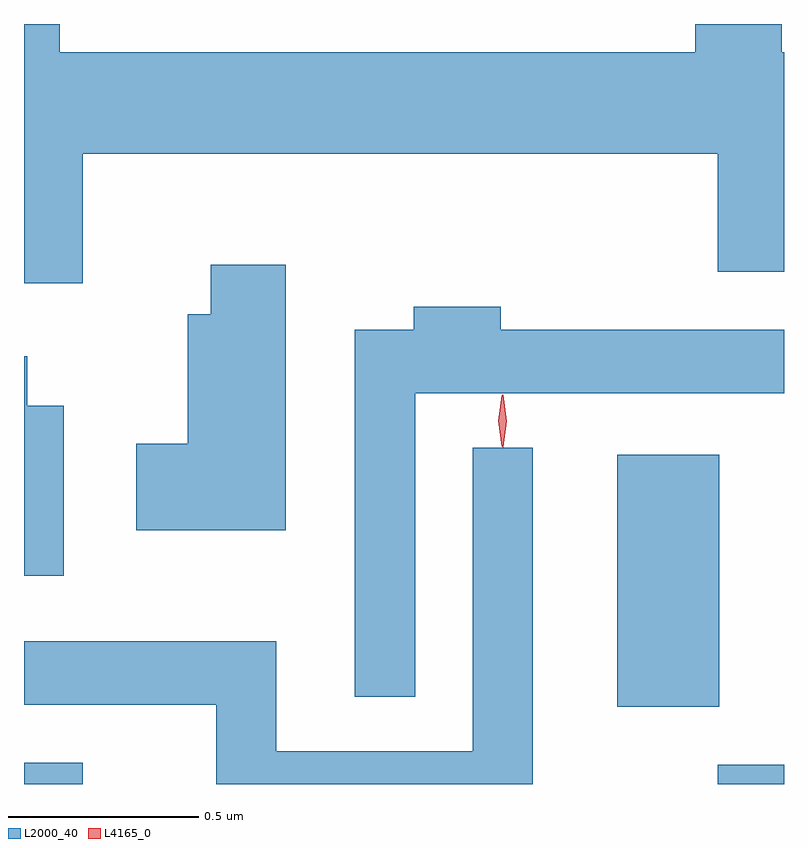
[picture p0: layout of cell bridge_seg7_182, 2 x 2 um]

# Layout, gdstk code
import gdstk
lib = gdstk.Library(unit=1e-6, precision=1e-09)
def R(c, l, rs):  # rectangles x0, y0, x1, y1
    for r in rs: c.add(gdstk.rectangle(r[:2], r[2:], *l))
def P(c, l, *ps):  # polygons
    for p in ps: c.add(gdstk.Polygon(p, *l))
L2000_40 = (2000, 40)
L4165_0 = (4165, 0)

bridge_seg7_182 = lib.new_cell('bridge_seg7_182')
R(bridge_seg7_182, L2000_40, [(1481.315,1701.558,1481.469,1701.614), (1483.141,1701.558,1483.315,1701.609), (1482.876,1701.761,1483.144,1702.424)])
P(bridge_seg7_182, L2000_40, [(1481.469,1703.216),(1483.141,1703.216),(1483.141,1702.906),(1483.315,1702.906),(1483.315,1703.484),(1483.309,1703.484),(1483.309,1703.558),(1483.081,1703.558),(1483.081,1703.484),(1481.409,1703.484),(1481.409,1703.558),(1481.315,1703.558),(1481.315,1702.876),(1481.469,1702.876)],
  [(1482.004,1702.924),(1481.806,1702.924),(1481.806,1702.794),(1481.746,1702.794),(1481.746,1702.454),(1481.611,1702.454),(1481.611,1702.226),(1482.004,1702.226)],
  [(1482.344,1702.586),(1483.315,1702.586),(1483.315,1702.754),(1482.569,1702.754),(1482.569,1702.814),(1482.341,1702.814),(1482.341,1702.754),(1482.186,1702.754),(1482.186,1701.788),(1482.344,1701.788)],
  [(1481.419,1702.554),(1481.324,1702.554),(1481.324,1702.684),(1481.315,1702.684),(1481.315,1702.106),(1481.419,1702.106)],
  [(1482.654,1702.443),(1482.496,1702.443),(1482.496,1701.644),(1481.979,1701.644),(1481.979,1701.934),(1481.315,1701.934),(1481.315,1701.766),(1481.821,1701.766),(1481.821,1701.558),(1482.654,1701.558)])
P(bridge_seg7_182, L4165_0, [(1482.572,1702.447),(1482.563,1702.514),(1482.572,1702.58),(1482.573,1702.581),(1482.573,1702.58),(1482.583,1702.514),(1482.573,1702.447),(1482.573,1702.447)],
  [(1482.575,1702.444),(1482.575,1702.444),(1482.565,1702.513),(1482.575,1702.582),(1482.575,1702.583),(1482.576,1702.582),(1482.585,1702.513),(1482.576,1702.444)])

lib.write_gds('bridge_seg7_182.gds')
